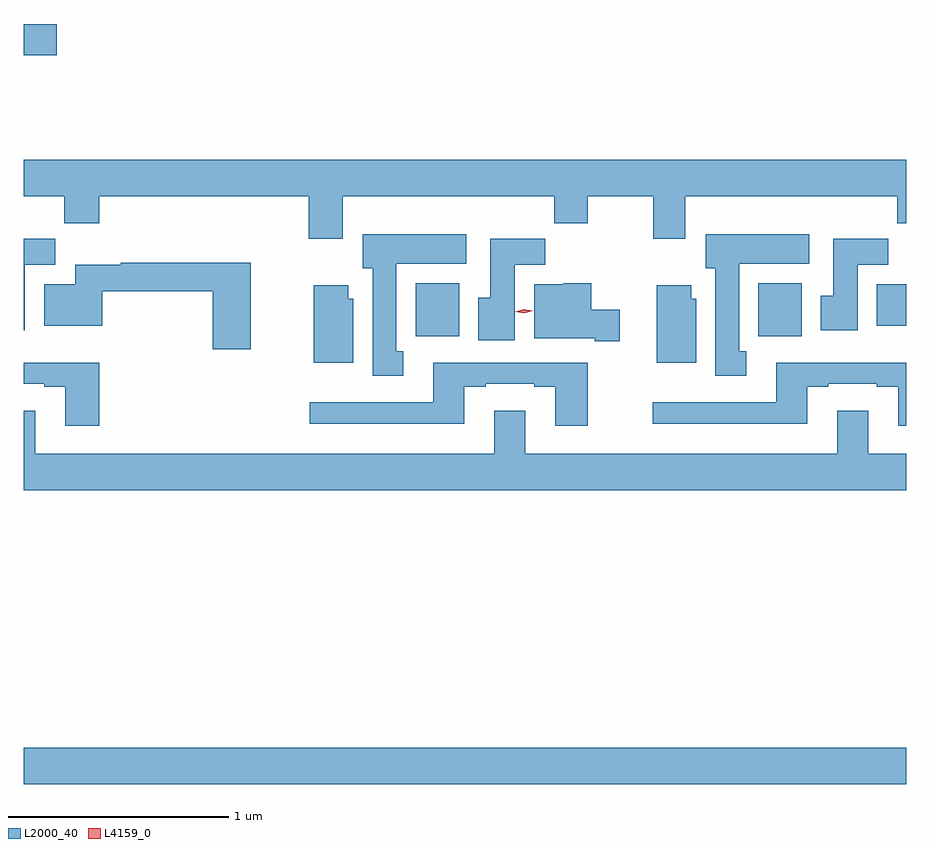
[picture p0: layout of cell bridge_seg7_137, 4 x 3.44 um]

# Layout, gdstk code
import gdstk
lib = gdstk.Library(unit=1e-6, precision=1e-09)
def R(c, l, rs):  # rectangles x0, y0, x1, y1
    for r in rs: c.add(gdstk.rectangle(r[:2], r[2:], *l))
def P(c, l, *ps):  # polygons
    for p in ps: c.add(gdstk.Polygon(p, *l))
L2000_40 = (2000, 40)
L4159_0 = (4159, 0)

bridge_seg7_137 = lib.new_cell('bridge_seg7_137')
R(bridge_seg7_137, L2000_40, [(820.262,1011.272,824.262,1011.436), (822.038,1013.3,822.235,1013.542), (823.592,1013.3,823.789,1013.542), (824.129,1013.348,824.262,1013.536), (820.262,1014.574,820.411,1014.716)])
P(bridge_seg7_137, L2000_40, [(821.707,1013.936),(822.667,1013.936),(822.667,1013.812),(822.819,1013.812),(822.819,1013.936),(823.114,1013.936),(823.114,1013.742),(823.261,1013.742),(823.261,1013.936),(824.221,1013.936),(824.221,1013.812),(824.262,1013.812),(824.262,1014.1),(820.262,1014.1),(820.262,1013.936),(820.447,1013.936),(820.447,1013.812),(820.604,1013.812),(820.604,1013.936),(821.555,1013.936),(821.555,1013.742),(821.707,1013.742)],
  [(821.983,1013.234),(821.95,1013.234),(821.95,1013.63),(822.268,1013.63),(822.268,1013.764),(821.798,1013.764),(821.798,1013.61),(821.843,1013.61),(821.843,1013.121),(821.983,1013.121)],
  [(823.537,1013.234),(823.504,1013.234),(823.504,1013.63),(823.822,1013.63),(823.822,1013.764),(823.352,1013.764),(823.352,1013.61),(823.397,1013.61),(823.397,1013.121),(823.537,1013.121)],
  [(824.041,1013.624),(824.18,1013.624),(824.18,1013.743),(823.931,1013.743),(823.931,1013.484),(823.874,1013.484),(823.874,1013.328),(824.041,1013.328)],
  [(822.487,1013.624),(822.626,1013.624),(822.626,1013.743),(822.377,1013.743),(822.377,1013.476),(822.323,1013.476),(822.323,1013.283),(822.487,1013.283)],
  [(820.267,1013.624),(820.406,1013.624),(820.406,1013.743),(820.262,1013.743),(820.262,1013.328),(820.267,1013.328)],
  [(821.29,1013.635),(820.702,1013.635),(820.702,1013.624),(820.496,1013.624),(820.496,1013.536),(820.355,1013.536),(820.355,1013.348),(820.619,1013.348),(820.619,1013.506),(821.12,1013.506),(821.12,1013.241),(821.29,1013.241)],
  [(822.964,1013.421),(822.834,1013.421),(822.834,1013.542),(822.708,1013.542),(822.708,1013.536),(822.575,1013.536),(822.575,1013.291),(822.851,1013.291),(822.851,1013.279),(822.964,1013.279)],
  [(823.309,1013.472),(823.288,1013.472),(823.288,1013.533),(823.13,1013.533),(823.13,1013.18),(823.309,1013.18)],
  [(821.755,1013.472),(821.734,1013.472),(821.734,1013.533),(821.576,1013.533),(821.576,1013.18),(821.755,1013.18)],
  [(824.262,1013.182),(823.673,1013.182),(823.673,1013.001),(823.113,1013.001),(823.113,1012.904),(823.813,1012.904),(823.813,1013.073),(823.909,1013.073),(823.909,1013.085),(824.129,1013.085),(824.129,1013.073),(824.225,1013.073),(824.225,1012.896),(824.262,1012.896)],
  [(820.604,1013.182),(820.262,1013.182),(820.262,1013.085),(820.355,1013.085),(820.355,1013.073),(820.451,1013.073),(820.451,1012.896),(820.604,1012.896)],
  [(822.819,1013.181),(822.119,1013.181),(822.119,1013.001),(821.559,1013.001),(821.559,1012.904),(822.259,1012.904),(822.259,1013.073),(822.355,1013.073),(822.355,1013.085),(822.575,1013.085),(822.575,1013.073),(822.671,1013.073),(822.671,1012.896),(822.819,1012.896)],
  [(824.262,1012.768),(824.089,1012.768),(824.089,1012.963),(823.949,1012.963),(823.949,1012.768),(822.535,1012.768),(822.535,1012.963),(822.395,1012.963),(822.395,1012.768),(820.315,1012.768),(820.315,1012.963),(820.262,1012.963),(820.262,1012.604),(824.262,1012.604)])
P(bridge_seg7_137, L4159_0, [(822.53,1013.405),(822.489,1013.413),(822.489,1013.413),(822.489,1013.413),(822.529,1013.424),(822.57,1013.416),(822.57,1013.416),(822.57,1013.416)])

lib.write_gds('bridge_seg7_137.gds')
